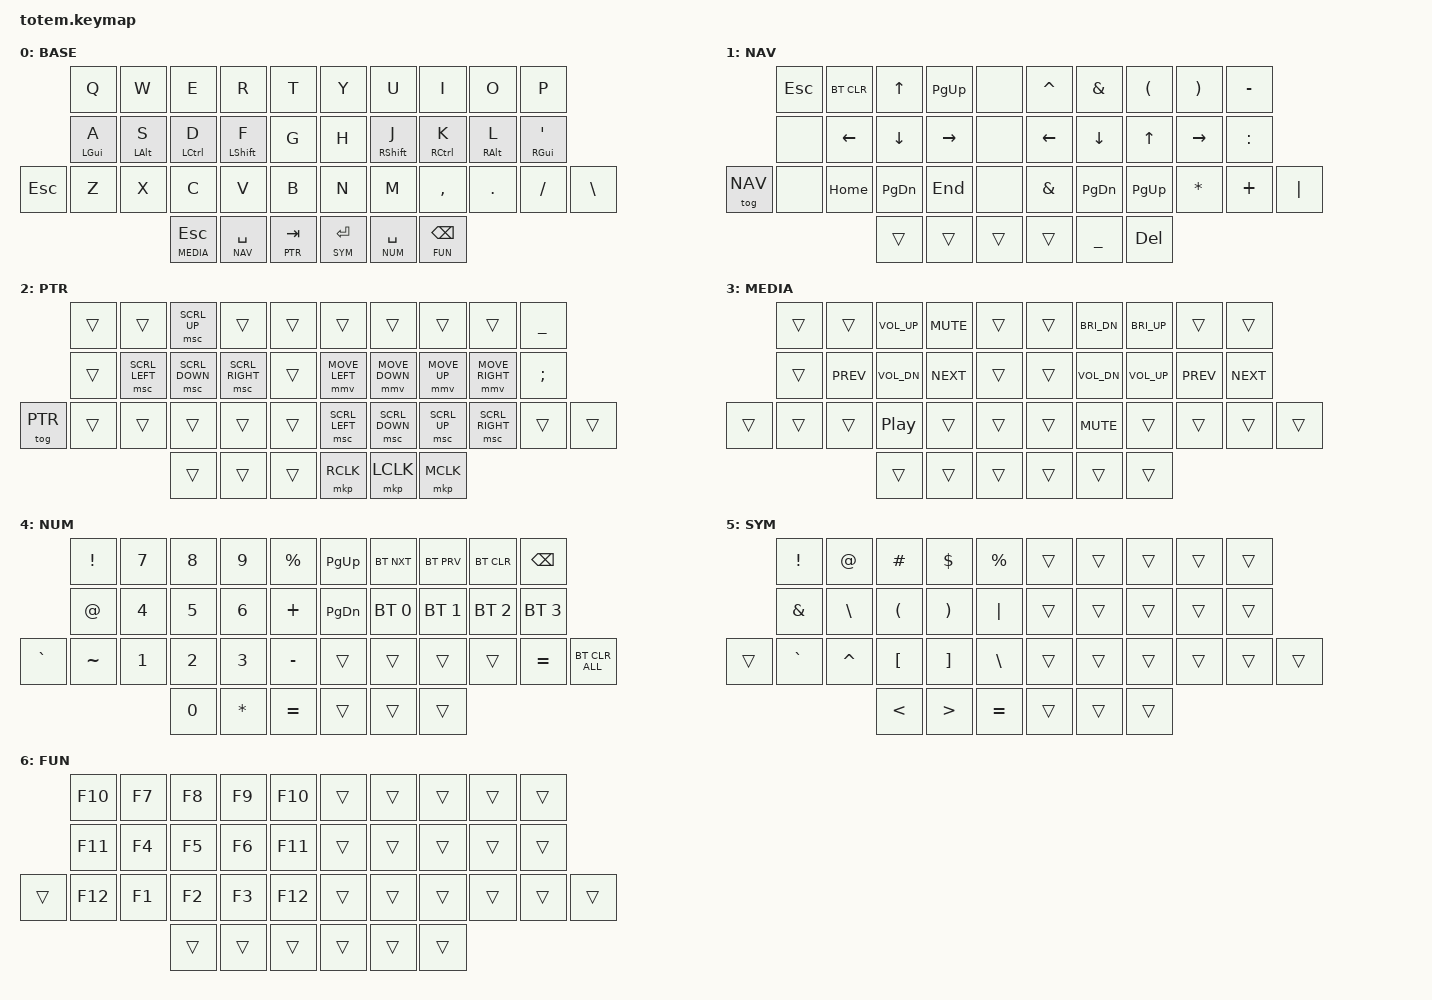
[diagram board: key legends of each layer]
//
//                                                        ▀▀▀▀▀     ▀▀▀▀▀          ▀▀█▀▀
//                                                        ▄▀▀▀▄  ▄  ▄▀▀▀▄  ▄  ▄▀▀▀▄  █  ▄▀▀▀▄
//                                                        █   █  █  █   █  █  █   █  █  █   █
//                                                         ▀▀▀   █   ▀▀▀   █   ▀▀▀   ▀   ▀▀▀
//                                                               █      ▄▄▄█▄▄▄    █   █  
//                                                               ▀      █  █  █     █▄█
//                                                             ▀▀▀▀▀    █  █  █      ▀
//                                                                      ▀  ▀  ▀
//
// ▄▄▄▄▄▄▄▄▄▄▄▄▄▄▄▄▄▄▄▄▄▄▄▄▄▄▄▄▄▄▄▄▄▄▄▄▄▄▄▄▄▄▄▄▄▄▄▄▄▄▄▄▄▄▄▄▄▄▄▄▄▄▄▄▄▄▄▄▄▄▄▄▄▄▄▄▄▄▄▄▄▄▄▄▄▄▄▄▄▄▄▄▄▄▄▄▄▄▄▄▄▄▄▄▄▄▄▄▄▄▄▄▄▄▄▄▄▄▄▄▄▄▄▄▄▄▄▄▄▄▄▄▄▄▄▄▄▄▄▄▄▄▄▄▄▄▄▄▄
       

#include <behaviors.dtsi>
#include <dt-bindings/zmk/keys.h>
#include <dt-bindings/zmk/bt.h>
#include <dt-bindings/zmk/outputs.h>
#include <dt-bindings/zmk/pointing.h>

#define BASE  0
#define NAV   1
#define PTR   2
#define MEDIA 3
#define NUM   4
#define SYM   5
#define FUN   6

&mt {
  quick-tap-ms = <100>;
  global-quick-tap;
  flavor = "tap-preferred";
  tapping-term-ms = <170>;
};

/ {
     combos {
            compatible = "zmk,combos";
            combo_esc {
                timeout-ms = <50>;
                key-positions = <0 1>;
                bindings = <&kp ESC>;
            };
            /* combo_tvp { */
            /*     timeout-ms = <100>; */
            /*     key-positions = <11 12 13>; */
            /*     bindings = <&tog TVP1>; */
            /* }; */
    };

    macros {
        gif: gif {
            label = "giphy";
            compatible = "zmk,behavior-macro";
            #binding-cells = <0>;
            bindings
                = <&macro_press &kp LSHFT>
                , <&macro_tap &kp N2>
                , <&macro_release &kp LSHFT>
                , <&macro_tap &kp G &kp I &kp F>
                ;
        };
    };

    keymap {
        compatible = "zmk,keymap";
// ▄▄▄▄▄▄▄▄▄▄▄▄▄▄▄▄▄▄▄▄▄▄▄▄▄▄▄▄▄▄▄▄▄▄▄▄▄▄▄▄▄▄▄▄▄▄▄▄▄▄▄▄▄▄▄▄▄▄▄▄▄▄▄▄▄▄▄▄▄▄▄▄▄▄▄▄▄▄▄▄▄▄▄▄▄▄▄▄▄▄▄▄▄▄▄▄▄▄▄▄▄▄▄▄▄▄▄▄▄▄▄▄▄▄▄▄▄▄▄▄▄▄▄▄▄▄▄▄▄▄▄▄▄▄▄▄▄▄▄▄▄▄▄▄▄▄▄▄▄

        base_layer {
// ┏━━━━━━━━━━━━━━━━━━━━━━━━━━━━━━━━━━━━━━━┓
            label= "BASE"                  ;
// ┗━━━━━━━━━━━━━━━━━━━━━━━━━━━━━━━━━━━━━━━┛
//             ┏━━━━━━━━━━━┳━━━━━━━━━━━┳━━━━━━━━━━━┳━━━━━━━━━━━┳━━━━━━━━━━━┓   ┏━━━━━━━━━━━┳━━━━━━━━━━━┳━━━━━━━━━━━┳━━━━━━━━━━━┳━━━━━━━━━━━┓
//             ┃     Q     ┃     W     ┃     E     ┃     R     ┃     T     ┃   ┃     Y     ┃     U     ┃     I     ┃     O     ┃     P     ┃
//             ┣━━━━━━━━━━━╋━━━━━━━━━━━╋━━━━━━━━━━━╋━━━━━━━━━━━╋━━━━━━━━━━━┫   ┣━━━━━━━━━━━╋━━━━━━━━━━━╋━━━━━━━━━━━╋━━━━━━━━━━━╋━━━━━━━━━━━┫
//             ┃     A     ┃     S     ┃     D     ┃     F     ┃     G     ┃   ┃     H     ┃     J     ┃     K     ┃     L     ┃     '     ┃
// ┏━━━━━━━━━━━╋━━━━━━━━━━━╋━━━━━━━━━━━╋━━━━━━━━━━━╋━━━━━━━━━━━╋━━━━━━━━━━━┫   ┣━━━━━━━━━━━╋━━━━━━━━━━━╋━━━━━━━━━━━╋━━━━━━━━━━━╋━━━━━━━━━━━╋━━━━━━━━━━━┓
// ┃    ESC    ┃     Z     ┃     X     ┃     C     ┃     V     ┃     B     ┃   ┃     N     ┃     M     ┃     ,     ┃     .     ┃     /     ┃     \     ┃
// ┗━━━━━━━━━━━┻━━━━━━━━━━━┻━━━━━━━━━━━╋━━━━━━━━━━━╋━━━━━━━━━━━╋━━━━━━━━━━━┫   ┣━━━━━━━━━━━╋━━━━━━━━━━━╋━━━━━━━━━━━╋━━━━━━━━━━━┻━━━━━━━━━━━┻━━━━━━━━━━━┛
//                                     ┃    ESC    ┃    SPC    ┃    TAB    ┃   ┃   ENTER   ┃    SPC    ┃   BSPC    ┃
//                                     ┗━━━━━━━━━━━┻━━━━━━━━━━━┻━━━━━━━━━━━┛   ┗━━━━━━━━━━━┻━━━━━━━━━━━┻━━━━━━━━━━━┛
            bindings = <
// ╷           ╷           ╷           ╷           ╷           ╷           ╷   ╷           ╷           ╷           ╷           ╷           ╷           ╷
                &kp Q       &kp W       &kp E       &kp R       &kp T           &kp Y       &kp U       &kp I       &kp O       &kp P
                &mt LGUI A  &mt LALT S  &mt LCTRL D &mt LSHFT F &kp G           &kp H       &mt RSHFT J &mt RCTRL K &mt RALT L  &mt RGUI SQT
    &kp ESC     &kp Z       &kp X       &kp C       &kp V       &kp B           &kp N       &kp M       &kp COMMA   &kp DOT     &kp FSLH    &kp BSLH
                                    &lt MEDIA ESC &lt NAV SPACE &lt PTR TAB     &lt SYM RET &lt NUM SPACE &lt FUN BSPC
            >;
        };

        nav_layer {
            label = "NAV";
            bindings = <
// ╷           ╷           ╷           ╷           ╷           ╷           ╷   ╷           ╷           ╷           ╷           ╷           ╷           ╷
                &kp ESC     &bt BT_CLR  &kp UP      &kp PG_UP   &none           &kp CARET   &kp AMPS    &kp LPAR    &kp RPAR    &kp MINUS
                &none       &kp LEFT    &kp DOWN    &kp RIGHT   &none           &kp LEFT    &kp DOWN    &kp UP      &kp RIGHT   &kp COLON
    &tog NAV    &none       &kp HOME    &kp PG_DN   &kp END     &none           &kp AMPS    &kp PG_DN   &kp PG_UP   &kp STAR    &kp PLUS    &kp PIPE
                                        &trans      &trans      &trans          &trans      &kp UNDER   &kp DEL
            >;
        };

        ptr_layer {
            label = "PTR";
            bindings = <
// ╷           ╷           ╷           ╷           ╷           ╷           ╷   ╷           ╷           ╷           ╷           ╷           ╷           ╷
                &trans      &trans     &msc SCRL_UP &trans      &trans          &trans      &trans      &trans      &trans      &kp UNDER
                &trans &msc SCRL_LEFT &msc SCRL_DOWN &msc SCRL_RIGHT &trans     &mmv MOVE_LEFT &mmv MOVE_DOWN &mmv MOVE_UP &mmv MOVE_RIGHT   &kp SEMI
    &tog PTR    &trans      &trans      &trans      &trans      &trans      &msc SCRL_LEFT &msc SCRL_DOWN &msc SCRL_UP &msc SCRL_RIGHT &trans      &trans
                                        &trans      &trans      &trans          &mkp RCLK   &mkp LCLK   &mkp MCLK
            >;
        };
        media_layer {
            label = "MEDIA";
            bindings = <
// ╷           ╷           ╷           ╷           ╷           ╷           ╷   ╷           ╷           ╷           ╷           ╷           ╷           ╷
                &trans      &trans     &kp C_VOL_UP &kp C_MUTE  &trans          &trans    &kp C_BRI_DN &kp C_BRI_UP &trans      &trans
                &trans      &kp C_PREV &kp C_VOL_DN &kp C_NEXT  &trans          &trans    &kp C_VOL_DN &kp C_VOL_UP &kp C_PREV  &kp C_NEXT
    &trans      &trans      &trans      &kp C_PP    &trans      &trans          &trans    &kp C_MUTE    &trans      &trans      &trans      &trans
                                        &trans      &trans      &trans          &trans      &trans      &trans
            >;
        };

        number_layer {
            label = "NUM";
            bindings = <
// ╷           ╷           ╷           ╷           ╷           ╷           ╷   ╷           ╷           ╷           ╷           ╷           ╷           ╷
                &kp EXCL    &kp N7      &kp N8      &kp N9      &kp PRCNT       &kp PG_UP   &bt BT_NXT  &bt BT_PRV  &bt BT_CLR  &kp BSPC
                &kp AT      &kp N4      &kp N5      &kp N6      &kp PLUS        &kp PG_DN &bt BT_SEL 0 &bt BT_SEL 1 &bt BT_SEL 2 &bt BT_SEL 3
    &kp GRAVE   &kp TILDE   &kp N1      &kp N2      &kp N3      &kp MINUS       &trans      &trans      &trans      &trans      &kp EQUAL   &bt BT_CLR_ALL
                                        &kp N0      &kp STAR    &kp EQUAL       &trans      &trans      &trans
            >;
        };

        symbols_layer {
            label = "SYM";
            bindings = <
// ╷           ╷           ╷           ╷           ╷           ╷           ╷   ╷           ╷           ╷           ╷           ╷           ╷           ╷
                &kp EXCL    &kp AT      &kp HASH    &kp DLLR    &kp PRCNT       &trans      &trans      &trans      &trans      &trans
                &kp AMPS    &kp BSLH    &kp LPAR    &kp RPAR    &kp PIPE        &trans      &trans      &trans      &trans      &trans
    &trans      &kp GRAVE   &kp CARET   &kp LBKT    &kp RBKT    &kp BSLH        &trans      &trans      &trans      &trans      &trans      &trans
                                        &kp LT      &kp GT      &kp EQUAL       &trans      &trans      &trans
            >;
        };

        function_layer {
            label = "FUN";
            bindings = <
// ╷           ╷           ╷           ╷           ╷           ╷           ╷   ╷           ╷           ╷           ╷           ╷           ╷           ╷
                &kp F10     &kp F7      &kp F8      &kp F9      &kp F10         &trans      &trans      &trans      &trans      &trans
                &kp F11     &kp F4      &kp F5      &kp F6      &kp F11         &trans      &trans      &trans      &trans      &trans
    &trans      &kp F12     &kp F1      &kp F2      &kp F3      &kp F12         &trans      &trans      &trans      &trans      &trans      &trans
                                        &trans      &trans      &trans          &trans      &trans      &trans
            >;
        };

    };  // keymap
};
